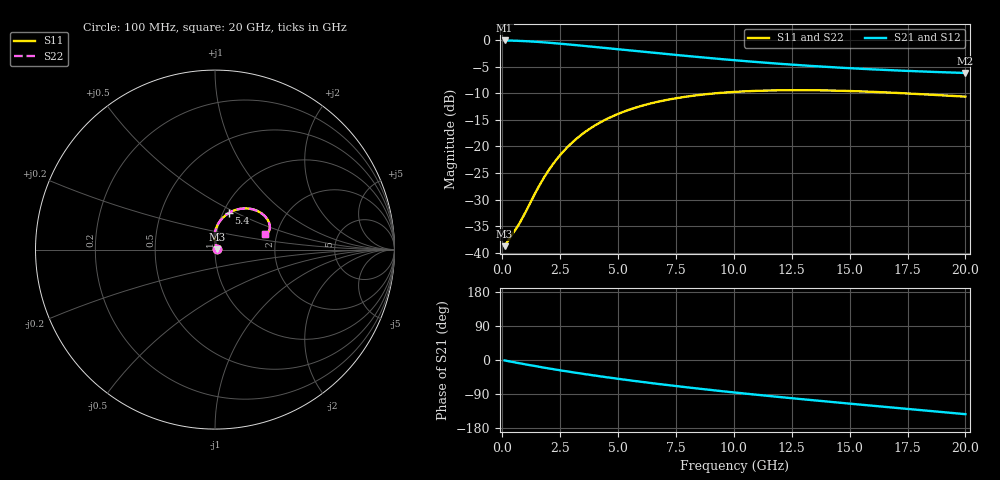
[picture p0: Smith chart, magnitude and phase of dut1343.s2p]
! Touchstone file exported from HFSS 2024.1.0
!  File:  C:/UserFiles/LocalFiles/RDL_TSV_Batchsim/temp_RDL_TSV_1343_1780392139.aedt
!  Generated:  05:38:53 PM Jun  2, 2026
!  Design:  RDL_TSV
!  Project:  temp_RDL_TSV_1343_1780392139
!  Setup:  Setup1
!  Solution:  Sweep
! Variables:
!  dtsv = 8.05um
!  hbump = 3um
!  htsv = 53.26um
!  ldown = 355.09um
!  lrdl = 270.07um
!  p = 40
!  p1 = 40.46um
!  rhole = 10um
!  subl = 2145.55um
!  t = 450um
!  tdown = 3.87um
!  trdl = 4.39um
!  viad = 10um
!  wdown = 21.56um
!  wrdl = 15.07um
!  xbump = 18um
# GHz S MA R 50.000000
! Terminal data exported
! Port[1] = TM1_1_T1
! Port[2] = TM1_4_T1
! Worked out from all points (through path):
!   200 points, 100 MHz to 20 GHz, reference 50 ohm
!   highest |S21| = -0.10 dB at 100 MHz (marker M1); lowest = -6.2 dB at 20 GHz (marker M2)
!   group delay of S21, straight-line fit = 18.9 ps
!   lowest |S11| = -38.8 dB at 100 MHz (marker M3), VSWR 1.02, Z = 51.1 + j0.263 ohm
!   |S11| at or under -10 dB: start of sweep to 9.297 GHz; 17.23 GHz to end of sweep
!   |S22| runs from -38.8 to -9.4 dB; largest |S21 - S12| = 1.1e-14
!   S11 on the Smith chart (normalised r, x): 100 MHz: 1.02, +0.01; 5.4 GHz: 1.07, +0.46; 20 GHz: 1.74, +0.33
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0.1  0.01153 12.9  0.9885 -1.2  0.9885 -1.2  0.01153 12.9
! Gamma 0 0 0 0
! Port Impedance 50 0 50 0
0.8  0.01989 63.1  0.9783 -9.3  0.9783 -9.3  0.01989 63.0
1.6  0.04284 88.8  0.9559 -18.0  0.9559 -18.0  0.04282 88.7
1.8  0.05084 90.7  0.9489 -20.1  0.9489 -20.1  0.05082 90.7
2.1  0.06396 91.9  0.9377 -23.2  0.9377 -23.2  0.06393 91.9
2.4  0.07803 91.6  0.9259 -26.2  0.9259 -26.2  0.078 91.6
2.8  0.09768 89.9  0.9095 -30.1  0.9095 -30.1  0.09763 89.9
3.1  0.1127 88.0  0.8969 -33.0  0.8969 -33.0  0.1126 87.9
3.5  0.1327 85.0  0.88 -36.7  0.88 -36.7  0.1326 85.0
3.9  0.1522 81.7  0.8631 -40.3  0.8631 -40.3  0.1521 81.7
4.4  0.1756 77.6  0.8421 -44.6  0.8421 -44.6  0.1755 77.5
5.4  0.2178 69.3  0.8013 -52.9  0.8013 -52.9  0.2176 69.3
6.1  0.243 63.9  0.7738 -58.4  0.7738 -58.4  0.2429 63.9
6.8  0.2648 58.9  0.7476 -63.7  0.7476 -63.7  0.2646 58.8
8.3  0.3002 49.2  0.6958 -74.3  0.6958 -74.3  0.3 49.2
10.1  0.3254 39.7  0.6425 -86.2  0.6425 -86.2  0.3252 39.7
11.7  0.3355 32.8  0.603 -96.1  0.603 -96.1  0.3353 32.8
13.4  0.3367 26.9  0.5686 -106.1  0.5686 -106.1  0.3364 26.9
15  0.3311 22.6  0.5425 -115.2  0.5425 -115.2  0.3308 22.6
16.7  0.3203 19.4  0.5202 -124.7  0.5202 -124.7  0.3199 19.4
18.3  0.3074 17.6  0.5034 -133.5  0.5034 -133.5  0.307 17.6
20  0.2931 17.3  0.4891 -143.0  0.4891 -143.0  0.2927 17.3
